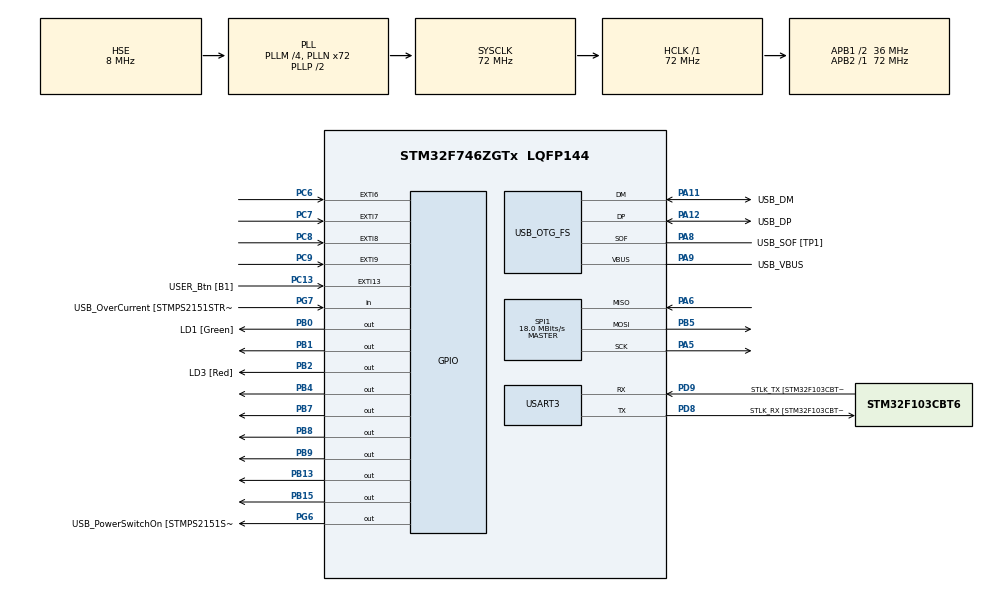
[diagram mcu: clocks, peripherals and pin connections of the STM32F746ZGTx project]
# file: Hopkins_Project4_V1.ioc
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Dma.Request0=SPI1_TX
Dma.SPI1_TX.0.Direction=DMA_MEMORY_TO_PERIPH
Dma.SPI1_TX.0.FIFOMode=DMA_FIFOMODE_ENABLE
Dma.SPI1_TX.0.FIFOThreshold=DMA_FIFO_THRESHOLD_HALFFULL
Dma.SPI1_TX.0.Instance=DMA2_Stream3
Dma.SPI1_TX.0.MemBurst=DMA_MBURST_SINGLE
Dma.SPI1_TX.0.MemDataAlignment=DMA_MDATAALIGN_HALFWORD
Dma.SPI1_TX.0.MemInc=DMA_MINC_ENABLE
Dma.SPI1_TX.0.Mode=DMA_NORMAL
Dma.SPI1_TX.0.PeriphBurst=DMA_PBURST_SINGLE
Dma.SPI1_TX.0.PeriphDataAlignment=DMA_PDATAALIGN_HALFWORD
Dma.SPI1_TX.0.PeriphInc=DMA_PINC_DISABLE
Dma.SPI1_TX.0.Priority=DMA_PRIORITY_LOW
Mcu.Family=STM32F7
Mcu.Name=STM32F746ZGTx
Mcu.Package=LQFP144
NVIC.DMA2_Stream3_IRQn=true\:0\:0\:false\:false\:true\:false\:true\:true
NVIC.EXTI9_5_IRQn=true\:0\:0\:false\:false\:true\:true\:true\:true
NVIC.PriorityGroup=NVIC_PRIORITYGROUP_4
PA1.GPIO_Label=RMII_REF_CLK [LAN8742A-CZ-TR_REFCLK0]
PA1.Signal=ETH_REF_CLK
PA10.GPIO_Label=USB_ID
PA10.Signal=USB_OTG_FS_ID
PA11.GPIO_Label=USB_DM
PA11.Mode=Device_Only
PA11.Signal=USB_OTG_FS_DM
PA12.GPIO_Label=USB_DP
PA12.Mode=Device_Only
PA12.Signal=USB_OTG_FS_DP
PA13.GPIO_Label=TMS
PA13.Mode=Serial_Wire
PA13.Signal=SYS_JTMS-SWDIO
PA14.GPIO_Label=TCK
PA14.Mode=Serial_Wire
PA14.Signal=SYS_JTCK-SWCLK
PA2.GPIO_Label=RMII_MDIO [LAN8742A-CZ-TR_MDIO]
PA2.Signal=ETH_MDIO
PA5.Mode=Full_Duplex_Master
PA5.Signal=SPI1_SCK
PA6.Mode=Full_Duplex_Master
PA6.Signal=SPI1_MISO
PA7.GPIO_Label=RMII_CRS_DV [LAN8742A-CZ-TR_CRS_DV]
PA7.Signal=ETH_CRS_DV
PA8.GPIO_Label=USB_SOF [TP1]
PA8.Mode=Activate_SOF_FS
PA8.Signal=USB_OTG_FS_SOF
PA9.GPIO_Label=USB_VBUS
PA9.Mode=Activate_VBUS
PA9.Signal=USB_OTG_FS_VBUS
PB0.GPIO_Label=LD1 [Green]
PB0.PinState=GPIO_PIN_RESET
PB0.Signal=GPIO_Output
PB1.GPIO_PuPd=GPIO_PULLDOWN
PB1.PinState=GPIO_PIN_RESET
PB1.Signal=GPIO_Output
PB13.GPIO_PuPd=GPIO_PULLDOWN
PB13.PinState=GPIO_PIN_RESET
PB13.Signal=GPIO_Output
PB15.GPIO_PuPd=GPIO_PULLDOWN
PB15.Signal=GPIO_Output
PB2.GPIO_Label=LD3 [Red]
PB2.Signal=GPIO_Output
PB3.GPIO_Label=SW0
PB3.Signal=SYS_JTDO-SWO
PB4.GPIO_PuPd=GPIO_PULLDOWN
PB4.Signal=GPIO_Output
PB5.Mode=Full_Duplex_Master
PB5.Signal=SPI1_MOSI
PB7.Signal=GPIO_Output
PB8.Signal=GPIO_Output
PB9.Signal=GPIO_Output
PC1.GPIO_Label=RMII_MDC [LAN8742A-CZ-TR_MDC]
PC1.Signal=ETH_MDC
PC13.GPIO_Label=USER_Btn [B1]
PC13.Signal=GPXTI13
PC14/OSC32_IN.Mode=LSE-External-Oscillator
PC14/OSC32_IN.Signal=RCC_OSC32_IN
PC15/OSC32_OUT.Mode=LSE-External-Oscillator
PC15/OSC32_OUT.Signal=RCC_OSC32_OUT
PC4.GPIO_Label=RMII_RXD0 [LAN8742A-CZ-TR_RXD0]
PC4.Signal=ETH_RXD0
PC5.GPIO_Label=RMII_RXD1 [LAN8742A-CZ-TR_RXD1]
PC5.Signal=ETH_RXD1
PC6.GPIO_ModeDefaultEXTI=GPIO_MODE_IT_FALLING
PC6.GPIO_PuPd=GPIO_PULLUP
PC6.Signal=GPXTI6
PC7.GPIO_ModeDefaultEXTI=GPIO_MODE_IT_FALLING
PC7.GPIO_PuPd=GPIO_PULLUP
PC7.Signal=GPXTI7
PC8.GPIO_ModeDefaultEXTI=GPIO_MODE_IT_FALLING
PC8.GPIO_PuPd=GPIO_PULLUP
PC8.Signal=GPXTI8
PC9.GPIO_ModeDefaultEXTI=GPIO_MODE_IT_FALLING
PC9.GPIO_PuPd=GPIO_PULLUP
PC9.Signal=GPXTI9
PD8.GPIO_Label=STLK_RX [STM32F103CBT6_PA3]
PD8.GPIO_PuPd=GPIO_PULLUP
PD8.Mode=Asynchronous
PD8.Signal=USART3_TX
PD9.GPIO_Label=STLK_TX [STM32F103CBT6_PA2]
PD9.GPIO_PuPd=GPIO_PULLUP
PD9.Mode=Asynchronous
PD9.Signal=USART3_RX
PG11.GPIO_Label=RMII_TX_EN [LAN8742A-CZ-TR_TXEN]
PG11.Signal=ETH_TX_EN
PG13.GPIO_Label=RMII_TXD0 [LAN8742A-CZ-TR_TXD0]
PG13.Signal=ETH_TXD0
PG6.GPIO_Label=USB_PowerSwitchOn [STMPS2151STR_EN]
PG6.Signal=GPIO_Output
PG7.GPIO_Label=USB_OverCurrent [STMPS2151STR_FAULT]
PG7.Signal=GPIO_Input
PH0/OSC_IN.GPIO_Label=MCO [STM32F103CBT6_PA8]
PH0/OSC_IN.Mode=HSE-External-Clock-Source
PH0/OSC_IN.Signal=RCC_OSC_IN
PH1/OSC_OUT.Mode=HSE-External-Clock-Source
PH1/OSC_OUT.Signal=RCC_OSC_OUT
ProjectManager.HeapSize=0x200
ProjectManager.StackSize=0x400
ProjectManager.TargetToolchain=STM32CubeIDE
RCC.48MHZClocksFreq_Value=24000000
RCC.AHBFreq_Value=72000000
RCC.APB1CLKDivider=RCC_HCLK_DIV2
RCC.APB1Freq_Value=36000000
RCC.APB1TimFreq_Value=72000000
RCC.APB2Freq_Value=72000000
RCC.APB2TimFreq_Value=72000000
RCC.CortexFreq_Value=72000000
RCC.HCLKFreq_Value=72000000
RCC.HSE_VALUE=8000000
RCC.HSI_VALUE=16000000
RCC.PLLM=4
RCC.PLLMUL=RCC_PLL_MUL9
RCC.PLLN=72
RCC.PLLQ=3
RCC.PRESCALERUSB=RCC_USBCLKSOURCE_PLL_DIV1_5
RCC.SYSCLKFreq_VALUE=72000000
RCC.SYSCLKSource=RCC_SYSCLKSOURCE_PLLCLK
RCC.SYSCLKSourceVirtual=RCC_SYSCLKSOURCE_PLLCLK
RCC.USBFreq_Value=48000000
RCC.VCOOutputFreq_Value=144000000
SPI1.BaudRatePrescaler=SPI_BAUDRATEPRESCALER_4
SPI1.CalculateBaudRate=18.0 MBits/s
SPI1.DataSize=SPI_DATASIZE_8BIT
SPI1.Direction=SPI_DIRECTION_2LINES
SPI1.Mode=SPI_MODE_MASTER
SPI1.NSSPMode=SPI_NSS_PULSE_DISABLE
SPI1.VirtualType=VM_MASTER
USART3.VirtualMode-Asynchronous=VM_ASYNC
USB_OTG_FS.VirtualMode=Device_Only
board=NUCLEO-F746ZG

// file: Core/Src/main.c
/* USER CODE BEGIN Header */
/**
  ******************************************************************************
  * @file           : main.c
  * @brief          : Main program body
  ******************************************************************************
  * @attention
  *
  * Copyright (c) 2023 STMicroelectronics.
  * All rights reserved.
  *
  * This software is licensed under terms that can be found in the LICENSE file
  * in the root directory of this software component.
  * If no LICENSE file comes with this software, it is provided AS-IS.
  *
  ******************************************************************************
  */
/* USER CODE END Header */
#include "main.h"

/* USER CODE BEGIN Includes */
#include "ili9163.h"
#include "fonts.h"
#include "colors.h"
#include "GUI.h"
#include "password.h"
/* USER CODE END Includes */

SPI_HandleTypeDef hspi1;
DMA_HandleTypeDef hdma_spi1_tx;

UART_HandleTypeDef huart3;

PCD_HandleTypeDef hpcd_USB_OTG_FS;

/* USER CODE BEGIN PV */
char keyChar = 0;
uint16_t key = 0;

int shiftFlag = 0;
int passwordFlag = 0;

char input[10];
char password[10];
/* USER CODE END PV */

void SystemClock_Config(void);
static void MX_GPIO_Init(void);
static void MX_DMA_Init(void);
static void MX_USB_OTG_FS_PCD_Init(void);
static void MX_USART3_UART_Init(void);
static void MX_SPI1_Init(void);

int main(void)
{

  /* MCU Configuration--------------------------------------------------------*/

  /* Reset of all peripherals, Initializes the Flash interface and the Systick. */
  HAL_Init();

  /* Configure the system clock */
  SystemClock_Config();

  /* Initialize all configured peripherals */
  MX_GPIO_Init();
  MX_DMA_Init();
  MX_USB_OTG_FS_PCD_Init();
  MX_USART3_UART_Init();
  MX_SPI1_Init();
  /* USER CODE BEGIN 2 */
  getTitleScreen(); //GUI Title function call
  /* USER CODE END 2 */

  /* Infinite loop */
  while (1)
  {

    /* USER CODE BEGIN 3 */
//	switch (keyChar)
//	{
//		case keyChar == '*':
//			return shiftFlag = 1;
//			return 	keyChar = 0;
//		default:
//			return keyChar = 0;
//			displayInput();
//			break;
//	}
	if (keyChar != 0) //if button is pressed
	{
		if (keyChar == '*')//if '*' button is pressed
		{
			shiftFlag = 1;
			//getShiftScreen();
			keyChar = 0;
		}
		keyChar = 0;
		displayInput(); //GUI to display button input
	}

	//Maybe try an if statement passwordFlag instead?
//	if (passwordFlag == 1)
//	{
//		setPassword();
//		passwordFlag = 0;
//	}
//	else if (passwordFlag == 2)
//	{
//		checkPassword();
//		passwordFlag = 0;
//	}
//	else if (passwordFlag == 3)
//	{
//		screenClr();
//		passwordFlag = 0;
//	}
//	else
//	{
//		passwordFlag = 0;
//	}

	switch (passwordFlag)
	{
		case 1:
			setPassword();
			return passwordFlag = 0;
			break;
		case 2:
			checkPassword();
			break;
		case 3:
			return screenClr();
		default:
			break;
	}
	passwordFlag = 0;
  }
  /* USER CODE END 3 */
}

void SystemClock_Config(void)
{
  RCC_OscInitTypeDef RCC_OscInitStruct = {0};
  RCC_ClkInitTypeDef RCC_ClkInitStruct = {0};

  /** Configure LSE Drive Capability
  */
  HAL_PWR_EnableBkUpAccess();

  /** Configure the main internal regulator output voltage
  */
  __HAL_RCC_PWR_CLK_ENABLE();
  __HAL_PWR_VOLTAGESCALING_CONFIG(PWR_REGULATOR_VOLTAGE_SCALE3);

  /** Initializes the RCC Oscillators according to the specified parameters
  * in the RCC_OscInitTypeDef structure.
  */
  RCC_OscInitStruct.OscillatorType = RCC_OSCILLATORTYPE_HSE;
  RCC_OscInitStruct.HSEState = RCC_HSE_BYPASS;
  RCC_OscInitStruct.PLL.PLLState = RCC_PLL_ON;
  RCC_OscInitStruct.PLL.PLLSource = RCC_PLLSOURCE_HSE;
  RCC_OscInitStruct.PLL.PLLM = 4;
  RCC_OscInitStruct.PLL.PLLN = 72;
  RCC_OscInitStruct.PLL.PLLP = RCC_PLLP_DIV2;
  RCC_OscInitStruct.PLL.PLLQ = 3;
  if (HAL_RCC_OscConfig(&RCC_OscInitStruct) != HAL_OK)
  {
    Error_Handler();
  }

  /** Initializes the CPU, AHB and APB buses clocks
  */
  RCC_ClkInitStruct.ClockType = RCC_CLOCKTYPE_HCLK|RCC_CLOCKTYPE_SYSCLK
                              |RCC_CLOCKTYPE_PCLK1|RCC_CLOCKTYPE_PCLK2;
  RCC_ClkInitStruct.SYSCLKSource = RCC_SYSCLKSOURCE_PLLCLK;
  RCC_ClkInitStruct.AHBCLKDivider = RCC_SYSCLK_DIV1;
  RCC_ClkInitStruct.APB1CLKDivider = RCC_HCLK_DIV2;
  RCC_ClkInitStruct.APB2CLKDivider = RCC_HCLK_DIV1;

  if (HAL_RCC_ClockConfig(&RCC_ClkInitStruct, FLASH_LATENCY_2) != HAL_OK)
  {
    Error_Handler();
  }
}

static void MX_SPI1_Init(void)
{

  /* SPI1 parameter configuration*/
  hspi1.Instance = SPI1;
  hspi1.Init.Mode = SPI_MODE_MASTER;
  hspi1.Init.Direction = SPI_DIRECTION_2LINES;
  hspi1.Init.DataSize = SPI_DATASIZE_8BIT;
  hspi1.Init.CLKPolarity = SPI_POLARITY_LOW;
  hspi1.Init.CLKPhase = SPI_PHASE_1EDGE;
  hspi1.Init.NSS = SPI_NSS_SOFT;
  hspi1.Init.BaudRatePrescaler = SPI_BAUDRATEPRESCALER_4;
  hspi1.Init.FirstBit = SPI_FIRSTBIT_MSB;
  hspi1.Init.TIMode = SPI_TIMODE_DISABLE;
  hspi1.Init.CRCCalculation = SPI_CRCCALCULATION_DISABLE;
  hspi1.Init.CRCPolynomial = 7;
  hspi1.Init.CRCLength = SPI_CRC_LENGTH_DATASIZE;
  hspi1.Init.NSSPMode = SPI_NSS_PULSE_DISABLE;
  if (HAL_SPI_Init(&hspi1) != HAL_OK)
  {
    Error_Handler();
  }

}

static void MX_USART3_UART_Init(void)
{

  huart3.Instance = USART3;
  huart3.Init.BaudRate = 115200;
  huart3.Init.WordLength = UART_WORDLENGTH_8B;
  huart3.Init.StopBits = UART_STOPBITS_1;
  huart3.Init.Parity = UART_PARITY_NONE;
  huart3.Init.Mode = UART_MODE_TX_RX;
  huart3.Init.HwFlowCtl = UART_HWCONTROL_NONE;
  huart3.Init.OverSampling = UART_OVERSAMPLING_16;
  huart3.Init.OneBitSampling = UART_ONE_BIT_SAMPLE_DISABLE;
  huart3.AdvancedInit.AdvFeatureInit = UART_ADVFEATURE_NO_INIT;
  if (HAL_UART_Init(&huart3) != HAL_OK)
  {
    Error_Handler();
  }

}

static void MX_USB_OTG_FS_PCD_Init(void)
{

  hpcd_USB_OTG_FS.Instance = USB_OTG_FS;
  hpcd_USB_OTG_FS.Init.dev_endpoints = 6;
  hpcd_USB_OTG_FS.Init.speed = PCD_SPEED_FULL;
  hpcd_USB_OTG_FS.Init.dma_enable = DISABLE;
  hpcd_USB_OTG_FS.Init.phy_itface = PCD_PHY_EMBEDDED;
  hpcd_USB_OTG_FS.Init.Sof_enable = ENABLE;
  hpcd_USB_OTG_FS.Init.low_power_enable = DISABLE;
  hpcd_USB_OTG_FS.Init.lpm_enable = DISABLE;
  hpcd_USB_OTG_FS.Init.vbus_sensing_enable = ENABLE;
  hpcd_USB_OTG_FS.Init.use_dedicated_ep1 = DISABLE;
  if (HAL_PCD_Init(&hpcd_USB_OTG_FS) != HAL_OK)
  {
    Error_Handler();
  }

}

static void MX_DMA_Init(void)
{

  /* DMA controller clock enable */
  __HAL_RCC_DMA2_CLK_ENABLE();

  /* DMA interrupt init */
  /* DMA2_Stream3_IRQn interrupt configuration */
  HAL_NVIC_SetPriority(DMA2_Stream3_IRQn, 0, 0);
  HAL_NVIC_EnableIRQ(DMA2_Stream3_IRQn);

}

static void MX_GPIO_Init(void)
{
  GPIO_InitTypeDef GPIO_InitStruct = {0};

  /* GPIO Ports Clock Enable */
  __HAL_RCC_GPIOC_CLK_ENABLE();
  __HAL_RCC_GPIOH_CLK_ENABLE();
  __HAL_RCC_GPIOA_CLK_ENABLE();
  __HAL_RCC_GPIOB_CLK_ENABLE();
  __HAL_RCC_GPIOD_CLK_ENABLE();
  __HAL_RCC_GPIOG_CLK_ENABLE();

  /*Configure GPIO pin Output Level */
  HAL_GPIO_WritePin(GPIOB, LD1_Pin|GPIO_PIN_1|LD3_Pin|GPIO_PIN_13
                          |GPIO_PIN_15|GPIO_PIN_4|GPIO_PIN_7|GPIO_PIN_8
                          |GPIO_PIN_9, GPIO_PIN_RESET);

  /*Configure GPIO pin Output Level */
  HAL_GPIO_WritePin(USB_PowerSwitchOn_GPIO_Port, USB_PowerSwitchOn_Pin, GPIO_PIN_RESET);

  /*Configure GPIO pin : USER_Btn_Pin */
  GPIO_InitStruct.Pin = USER_Btn_Pin;
  GPIO_InitStruct.Mode = GPIO_MODE_IT_RISING;
  GPIO_InitStruct.Pull = GPIO_NOPULL;
  HAL_GPIO_Init(USER_Btn_GPIO_Port, &GPIO_InitStruct);

  /*Configure GPIO pins : RMII_MDC_Pin RMII_RXD0_Pin RMII_RXD1_Pin */
  GPIO_InitStruct.Pin = RMII_MDC_Pin|RMII_RXD0_Pin|RMII_RXD1_Pin;
  GPIO_InitStruct.Mode = GPIO_MODE_AF_PP;
  GPIO_InitStruct.Pull = GPIO_NOPULL;
  GPIO_InitStruct.Speed = GPIO_SPEED_FREQ_VERY_HIGH;
  GPIO_InitStruct.Alternate = GPIO_AF11_ETH;
  HAL_GPIO_Init(GPIOC, &GPIO_InitStruct);

  /*Configure GPIO pins : RMII_REF_CLK_Pin RMII_MDIO_Pin RMII_CRS_DV_Pin */
  GPIO_InitStruct.Pin = RMII_REF_CLK_Pin|RMII_MDIO_Pin|RMII_CRS_DV_Pin;
  GPIO_InitStruct.Mode = GPIO_MODE_AF_PP;
  GPIO_InitStruct.Pull = GPIO_NOPULL;
  GPIO_InitStruct.Speed = GPIO_SPEED_FREQ_VERY_HIGH;
  GPIO_InitStruct.Alternate = GPIO_AF11_ETH;
  HAL_GPIO_Init(GPIOA, &GPIO_InitStruct);

  /*Configure GPIO pins : LD1_Pin LD3_Pin PB7 PB8
                           PB9 */
  GPIO_InitStruct.Pin = LD1_Pin|LD3_Pin|GPIO_PIN_7|GPIO_PIN_8
                          |GPIO_PIN_9;
  GPIO_InitStruct.Mode = GPIO_MODE_OUTPUT_PP;
  GPIO_InitStruct.Pull = GPIO_NOPULL;
  GPIO_InitStruct.Speed = GPIO_SPEED_FREQ_LOW;
  HAL_GPIO_Init(GPIOB, &GPIO_InitStruct);

  /*Configure GPIO pins : PB1 PB13 PB15 PB4 */
  GPIO_InitStruct.Pin = GPIO_PIN_1|GPIO_PIN_13|GPIO_PIN_15|GPIO_PIN_4;
  GPIO_InitStruct.Mode = GPIO_MODE_OUTPUT_PP;
  GPIO_InitStruct.Pull = GPIO_PULLDOWN;
  GPIO_InitStruct.Speed = GPIO_SPEED_FREQ_LOW;
  HAL_GPIO_Init(GPIOB, &GPIO_InitStruct);

  /*Configure GPIO pin : USB_PowerSwitchOn_Pin */
  GPIO_InitStruct.Pin = USB_PowerSwitchOn_Pin;
  GPIO_InitStruct.Mode = GPIO_MODE_OUTPUT_PP;
  GPIO_InitStruct.Pull = GPIO_NOPULL;
  GPIO_InitStruct.Speed = GPIO_SPEED_FREQ_LOW;
  HAL_GPIO_Init(USB_PowerSwitchOn_GPIO_Port, &GPIO_InitStruct);

  /*Configure GPIO pin : USB_OverCurrent_Pin */
  GPIO_InitStruct.Pin = USB_OverCurrent_Pin;
  GPIO_InitStruct.Mode = GPIO_MODE_INPUT;
  GPIO_InitStruct.Pull = GPIO_NOPULL;
  HAL_GPIO_Init(USB_OverCurrent_GPIO_Port, &GPIO_InitStruct);

  /*Configure GPIO pins : PC6 PC7 PC8 PC9 */
  GPIO_InitStruct.Pin = GPIO_PIN_6|GPIO_PIN_7|GPIO_PIN_8|GPIO_PIN_9;
  GPIO_InitStruct.Mode = GPIO_MODE_IT_FALLING;
  GPIO_InitStruct.Pull = GPIO_PULLUP;
  HAL_GPIO_Init(GPIOC, &GPIO_InitStruct);

  /*Configure GPIO pins : RMII_TX_EN_Pin RMII_TXD0_Pin */
  GPIO_InitStruct.Pin = RMII_TX_EN_Pin|RMII_TXD0_Pin;
  GPIO_InitStruct.Mode = GPIO_MODE_AF_PP;
  GPIO_InitStruct.Pull = GPIO_NOPULL;
  GPIO_InitStruct.Speed = GPIO_SPEED_FREQ_VERY_HIGH;
  GPIO_InitStruct.Alternate = GPIO_AF11_ETH;
  HAL_GPIO_Init(GPIOG, &GPIO_InitStruct);

  /* EXTI interrupt init*/
  HAL_NVIC_SetPriority(EXTI9_5_IRQn, 0, 0);
  HAL_NVIC_EnableIRQ(EXTI9_5_IRQn);

}

/* USER CODE BEGIN 4 */
uint8_t SPI_DMA_FL = 0;
 uint32_t SPI_DMA_CNT=1;
void HAL_SPI_TxCpltCallback(SPI_HandleTypeDef *hspi)
{
	SPI_DMA_CNT--;
	if(SPI_DMA_CNT==0)
	{
		HAL_SPI_DMAStop(&hspi1);
		SPI_DMA_CNT=1;
		SPI_DMA_FL=1;
	}
}
/* USER CODE END 4 */

void Error_Handler(void)
{
  __disable_irq();
  while (1)
  {
  }
}
